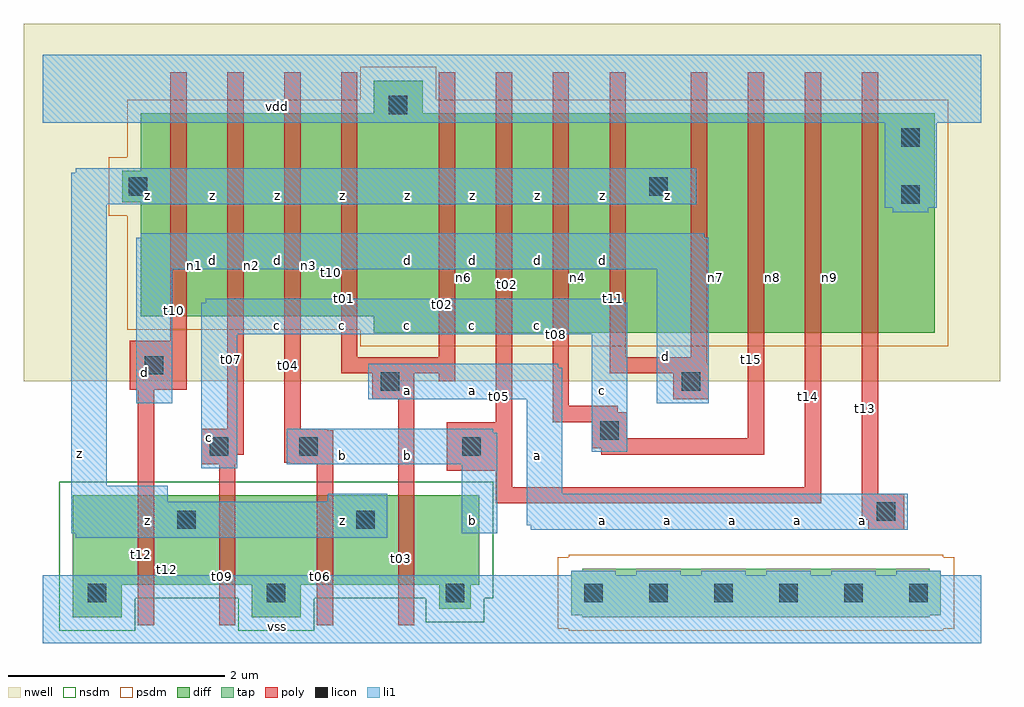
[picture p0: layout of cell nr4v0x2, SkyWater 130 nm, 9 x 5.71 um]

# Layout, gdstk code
import gdstk
lib = gdstk.Library(unit=1e-6, precision=5e-09)
def R(c, l, rs):  # rectangles x0, y0, x1, y1
    for r in rs: c.add(gdstk.rectangle(r[:2], r[2:], *l))
def A(c, l, x, y, w, h, nx, ny, dx, dy):  # array of equal rectangles
    R(c, l, [(x+i*dx, y+j*dy, x+i*dx+w, y+j*dy+h) for i in range(nx) for j in range(ny)])
nwell = (64, 20)
diff = (65, 20)
tap = (65, 44)
poly = (66, 20)
licon = (66, 44)
li1 = (67, 20)
nsdm = (93, 44)
psdm = (94, 20)

nr4v0x2 = lib.new_cell('nr4v0x2')
R(nr4v0x2, nwell, [(-0.3,2.4,8.7,5.7)])
R(nr4v0x2, diff, [(0.15,0.225,0.6,1.35), (1.8,0.225,2.25,1.35), (3.53,0.305,3.82,1.35), (0.15,0.525,3.9,1.35), (2.925,2.85,3.375,5.175), (2.925,2.85,8.1,4.875), (0.775,3,8.1,4.875), (0.605,4.055,8.1,4.345)])
R(nr4v0x2, tap, [(4.85,0.225,8.05,0.675), (4.745,0.245,8.155,0.655)])
R(nr4v0x2, poly, [(0.75,0.15,0.9,2.775), (1.5,0.15,1.65,1.965), (2.4,0.15,2.55,1.95), (3.15,0.15,3.3,2.625), (7.485,1.035,7.815,1.365), (7.425,1.125,7.815,1.365), (7.425,1.125,7.575,5.25), (4.05,1.275,4.2,5.25), (4.05,1.275,7.05,1.425), (6.9,1.275,7.05,5.25), (3.6,1.575,4.2,2.025), (1.335,1.635,1.665,1.965), (2.16,1.635,2.49,1.965), (2.16,1.635,2.55,1.95), (2.1,1.65,2.55,1.95), (2.1,1.65,2.49,1.965), (2.1,1.65,2.25,5.25), (1.575,1.725,1.725,5.25), (5.025,1.725,5.175,2.175), (5.025,1.725,5.265,2.115), (5.025,1.725,6.525,1.875), (6.375,1.725,6.525,5.25), (4.935,1.785,5.265,2.115), (4.935,1.785,5.175,2.175), (4.575,2.025,4.725,5.25), (4.575,2.025,5.175,2.175), (2.91,2.235,3.3,2.625), (5.685,2.235,6.015,2.565), (5.685,2.235,6,2.625), (5.85,2.235,6,5.25), (0.675,2.325,1.2,2.775), (1.05,2.325,1.2,5.25), (3.525,2.4,3.675,5.25), (2.625,2.475,2.775,5.25), (2.625,2.475,3.675,2.625), (5.1,2.475,5.25,5.25), (5.1,2.475,6,2.625)])
A(nr4v0x2, licon, 0.29, 0.365, 0.17, 0.17, 3, 1, 1.65, 0)
A(nr4v0x2, licon, 4.865, 0.365, 0.17, 0.17, 6, 1, 0.6, 0)
R(nr4v0x2, licon, [(1.115,1.04,1.285,1.21), (2.765,1.04,2.935,1.21), (7.565,1.115,7.735,1.285), (1.415,1.715,1.585,1.885), (2.24,1.715,2.41,1.885), (3.74,1.715,3.91,1.885), (5.015,1.865,5.185,2.035), (2.99,2.315,3.16,2.485), (5.765,2.315,5.935,2.485), (0.815,2.465,0.985,2.635), (7.79,4.04,7.96,4.21), (0.665,4.115,0.835,4.285), (5.465,4.115,5.635,4.285), (7.79,4.565,7.96,4.735), (3.065,4.865,3.235,5.035)])
A(nr4v0x2, li1, 4.745, -0.015, 0.41, 0.67, 6, 1, 0.6, 0)
A(nr4v0x2, li1, 2.575, 1.035, 0.25, 0.33, 3, 1, 1.2, 0)
A(nr4v0x2, li1, 5.575, 1.035, 0.25, 0.33, 4, 1, 0.6, 0)
A(nr4v0x2, li1, 1.975, 2.835, 0.25, 0.33, 5, 1, 0.6, 0)
A(nr4v0x2, li1, 1.375, 3.435, 0.25, 0.33, 7, 1, 0.6, 0)
A(nr4v0x2, li1, 0.775, 4.035, 0.25, 0.33, 9, 1, 0.6, 0)
R(nr4v0x2, li1, [(-0.125,-0.015,8.525,0.615), (-0.125,-0.015,8.525,0.615), (0.175,0.96,1.025,1.44), (0.175,0.96,0.465,4.365), (0.175,0.96,3.05,1.29), (2.5,0.96,3.05,1.365), (0.135,1,1.025,1.44), (0.135,1,0.465,4.325), (0.135,1,3.05,1.29), (3.735,1,4.025,1.965), (3.735,1,4.065,1.925), (0.775,1.035,1.025,1.365), (4.375,1.035,4.625,2.565), (4.375,1.035,4.665,2.525), (4.375,1.035,7.85,1.365), (0.135,1.075,0.465,3.725), (4.335,1.075,4.665,2.525), (4.335,1.075,4.625,2.565), (4.335,1.075,7.85,1.365), (1.335,1.6,1.665,3.125), (1.375,1.6,1.665,3.165), (2.125,1.635,4.065,1.925), (2.125,1.635,4.025,1.965), (2.575,1.635,2.825,1.965), (3.175,1.635,3.425,1.965), (4.375,1.635,4.625,1.965), (1.335,1.675,1.665,2.525), (4.935,1.75,5.225,3.165), (4.935,1.75,5.265,3.125), (0.735,2.2,1.065,3.725), (0.775,2.2,1.065,3.765), (5.535,2.2,5.975,3.765), (5.535,2.2,6.015,3.725), (2.875,2.235,4.665,2.525), (2.875,2.235,4.625,2.565), (3.175,2.235,3.425,2.565), (3.775,2.235,4.025,2.565), (4.975,2.235,5.225,2.565), (0.735,2.275,1.065,3.125), (5.535,2.275,5.865,3.725), (1.335,2.835,5.265,3.125), (1.375,2.835,5.225,3.165), (0.735,3.435,6.015,3.725), (0.775,3.435,5.975,3.765), (7.71,3.96,8.04,5.415), (7.635,4,8.115,5.415), (0.135,4.035,5.9,4.325), (0.175,4.035,5.9,4.365), (-0.125,4.785,8.525,5.415), (-0.125,4.785,8.525,5.415)])
A(nr4v0x2, nsdm, 0.23, 0.305, 0.29, 0.29, 3, 1, 1.65, 0)
R(nr4v0x2, nsdm, [(0.025,0.1,0.725,1.475), (1.675,0.1,2.375,1.475), (3.405,0.18,3.945,1.475), (0.15,0.225,0.6,1.35), (0.15,0.225,0.6,1.35), (1.8,0.225,2.25,1.35), (1.8,0.225,2.25,1.35), (0.025,0.4,4.025,1.475), (1.05,0.525,1.35,1.35), (1.05,0.525,1.35,1.35), (2.7,0.525,3,1.35), (2.7,0.525,3,1.35), (3.45,0.525,3.9,1.35), (3.45,0.525,3.9,1.35), (1.055,0.98,1.345,1.27), (2.705,0.98,2.995,1.27)])
R(nr4v0x2, psdm, [(4.725,0.1,8.175,0.8), (4.62,0.12,8.28,0.78), (2.8,2.725,3.5,5.3), (2.8,2.725,8.225,5), (2.925,2.85,3.375,5.175), (2.925,2.85,3.375,5.175), (3.675,2.85,3.975,4.875), (3.675,2.85,3.975,4.875), (4.2,2.85,4.5,4.875), (4.2,2.85,4.5,4.875), (4.725,2.85,5.025,4.875), (4.725,2.85,5.025,4.875), (5.4,2.85,5.7,4.875), (5.4,2.85,5.7,4.875), (6,2.85,6.3,4.875), (6,2.85,6.3,4.875), (6.525,2.85,6.825,4.875), (6.525,2.85,6.825,4.875), (7.05,2.85,7.35,4.875), (7.05,2.85,7.35,4.875), (7.65,2.85,8.1,4.875), (7.65,2.85,8.1,4.875), (0.65,2.875,8.225,5), (1.2,3,1.5,4.875), (1.2,3,1.5,4.875), (1.725,3,2.025,4.875), (1.725,3,2.025,4.875), (2.25,3,2.55,4.875), (2.25,3,2.55,4.875), (0.48,3.93,8.225,4.47), (7.73,3.98,8.02,4.27), (0.605,4.055,0.895,4.345), (5.405,4.055,5.695,4.345), (7.73,4.505,8.02,4.795), (3.005,4.805,3.295,5.095)])
nr4v0x2.add(gdstk.Label('t12', (1.025,0.665), layer=93, texttype=44))
nr4v0x2.add(gdstk.Label('t10', (2.54,3.405), layer=94, texttype=20))
nr4v0x2.add(gdstk.Label('t02', (4.155,3.29), layer=94, texttype=20))
nr4v0x2.add(gdstk.Label('t12', (1.085,0.73), layer=65, texttype=20))
nr4v0x2.add(gdstk.Label('t10', (2.605,3.465), layer=65, texttype=20))
nr4v0x2.add(gdstk.Label('t02', (4.215,3.355), layer=65, texttype=20))
nr4v0x2.add(gdstk.Label('n9', (7.125,3.355), layer=94, texttype=20))
nr4v0x2.add(gdstk.Label('n8', (6.6,3.355), layer=94, texttype=20))
nr4v0x2.add(gdstk.Label('n7', (6.075,3.355), layer=94, texttype=20))
nr4v0x2.add(gdstk.Label('n4', (4.8,3.355), layer=94, texttype=20))
nr4v0x2.add(gdstk.Label('n5', (4.275,3.355), layer=94, texttype=20))
nr4v0x2.add(gdstk.Label('n6', (3.75,3.355), layer=94, texttype=20))
nr4v0x2.add(gdstk.Label('n3', (2.325,3.465), layer=94, texttype=20))
nr4v0x2.add(gdstk.Label('n2', (1.8,3.465), layer=94, texttype=20))
nr4v0x2.add(gdstk.Label('n1', (1.275,3.465), layer=94, texttype=20))
nr4v0x2.add(gdstk.Label('t09', (1.535,0.6), layer=66, texttype=20))
nr4v0x2.add(gdstk.Label('t12', (0.785,0.805), layer=66, texttype=20))
nr4v0x2.add(gdstk.Label('t07', (1.61,2.605), layer=66, texttype=20))
nr4v0x2.add(gdstk.Label('t10', (1.085,3.055), layer=66, texttype=20))
nr4v0x2.add(gdstk.Label('t06', (2.435,0.6), layer=66, texttype=20))
nr4v0x2.add(gdstk.Label('t03', (3.185,0.765), layer=66, texttype=20))
nr4v0x2.add(gdstk.Label('t04', (2.135,2.55), layer=66, texttype=20))
nr4v0x2.add(gdstk.Label('t01', (2.66,3.165), layer=66, texttype=20))
nr4v0x2.add(gdstk.Label('t02', (3.56,3.11), layer=66, texttype=20))
nr4v0x2.add(gdstk.Label('t08', (4.61,2.83), layer=66, texttype=20))
nr4v0x2.add(gdstk.Label('t05', (4.085,2.265), layer=66, texttype=20))
nr4v0x2.add(gdstk.Label('t11', (5.135,3.165), layer=66, texttype=20))
nr4v0x2.add(gdstk.Label('t15', (6.41,2.605), layer=66, texttype=20))
nr4v0x2.add(gdstk.Label('t14', (6.935,2.265), layer=66, texttype=20))
nr4v0x2.add(gdstk.Label('t13', (7.46,2.155), layer=66, texttype=20))
nr4v0x2.add(gdstk.Label('z', (0.835,1.115), layer=67, texttype=20))
nr4v0x2.add(gdstk.Label('d', (0.815,2.485), layer=67, texttype=20))
nr4v0x2.add(gdstk.Label('z', (0.215,1.735), layer=67, texttype=20))
nr4v0x2.add(gdstk.Label('z', (0.835,4.115), layer=67, texttype=20))
nr4v0x2.add(gdstk.Label('z', (2.635,1.115), layer=67, texttype=20))
nr4v0x2.add(gdstk.Label('b', (2.635,1.715), layer=67, texttype=20))
nr4v0x2.add(gdstk.Label('c', (1.415,1.885), layer=67, texttype=20))
nr4v0x2.add(gdstk.Label('c', (2.035,2.915), layer=67, texttype=20))
nr4v0x2.add(gdstk.Label('c', (2.635,2.915), layer=67, texttype=20))
nr4v0x2.add(gdstk.Label('d', (1.435,3.515), layer=67, texttype=20))
nr4v0x2.add(gdstk.Label('d', (2.035,3.515), layer=67, texttype=20))
nr4v0x2.add(gdstk.Label('d', (2.635,3.515), layer=67, texttype=20))
nr4v0x2.add(gdstk.Label('z', (2.635,4.115), layer=67, texttype=20))
nr4v0x2.add(gdstk.Label('z', (2.035,4.115), layer=67, texttype=20))
nr4v0x2.add(gdstk.Label('z', (1.435,4.115), layer=67, texttype=20))
nr4v0x2.add(gdstk.Label('b', (3.835,1.115), layer=67, texttype=20))
nr4v0x2.add(gdstk.Label('b', (3.235,1.715), layer=67, texttype=20))
nr4v0x2.add(gdstk.Label('a', (4.435,1.715), layer=67, texttype=20))
nr4v0x2.add(gdstk.Label('a', (3.835,2.315), layer=67, texttype=20))
nr4v0x2.add(gdstk.Label('a', (3.235,2.315), layer=67, texttype=20))
nr4v0x2.add(gdstk.Label('c', (3.235,2.915), layer=67, texttype=20))
nr4v0x2.add(gdstk.Label('c', (3.835,2.915), layer=67, texttype=20))
nr4v0x2.add(gdstk.Label('c', (4.435,2.915), layer=67, texttype=20))
nr4v0x2.add(gdstk.Label('d', (3.235,3.515), layer=67, texttype=20))
nr4v0x2.add(gdstk.Label('d', (3.835,3.515), layer=67, texttype=20))
nr4v0x2.add(gdstk.Label('d', (4.435,3.515), layer=67, texttype=20))
nr4v0x2.add(gdstk.Label('z', (4.435,4.115), layer=67, texttype=20))
nr4v0x2.add(gdstk.Label('z', (3.835,4.115), layer=67, texttype=20))
nr4v0x2.add(gdstk.Label('z', (3.235,4.115), layer=67, texttype=20))
nr4v0x2.add(gdstk.Label('a', (6.235,1.115), layer=67, texttype=20))
nr4v0x2.add(gdstk.Label('a', (5.635,1.115), layer=67, texttype=20))
nr4v0x2.add(gdstk.Label('a', (5.035,1.115), layer=67, texttype=20))
nr4v0x2.add(gdstk.Label('c', (5.035,2.315), layer=67, texttype=20))
nr4v0x2.add(gdstk.Label('d', (5.615,2.635), layer=67, texttype=20))
nr4v0x2.add(gdstk.Label('d', (5.035,3.515), layer=67, texttype=20))
nr4v0x2.add(gdstk.Label('z', (5.635,4.115), layer=67, texttype=20))
nr4v0x2.add(gdstk.Label('z', (5.035,4.115), layer=67, texttype=20))
nr4v0x2.add(gdstk.Label('vss', (2.035,0.14), layer=67, texttype=20))
nr4v0x2.add(gdstk.Label('a', (7.435,1.115), layer=67, texttype=20))
nr4v0x2.add(gdstk.Label('a', (6.835,1.115), layer=67, texttype=20))
nr4v0x2.add(gdstk.Label('vdd', (2.035,4.94), layer=67, texttype=20))

lib.write_gds('nr4v0x2.gds')
